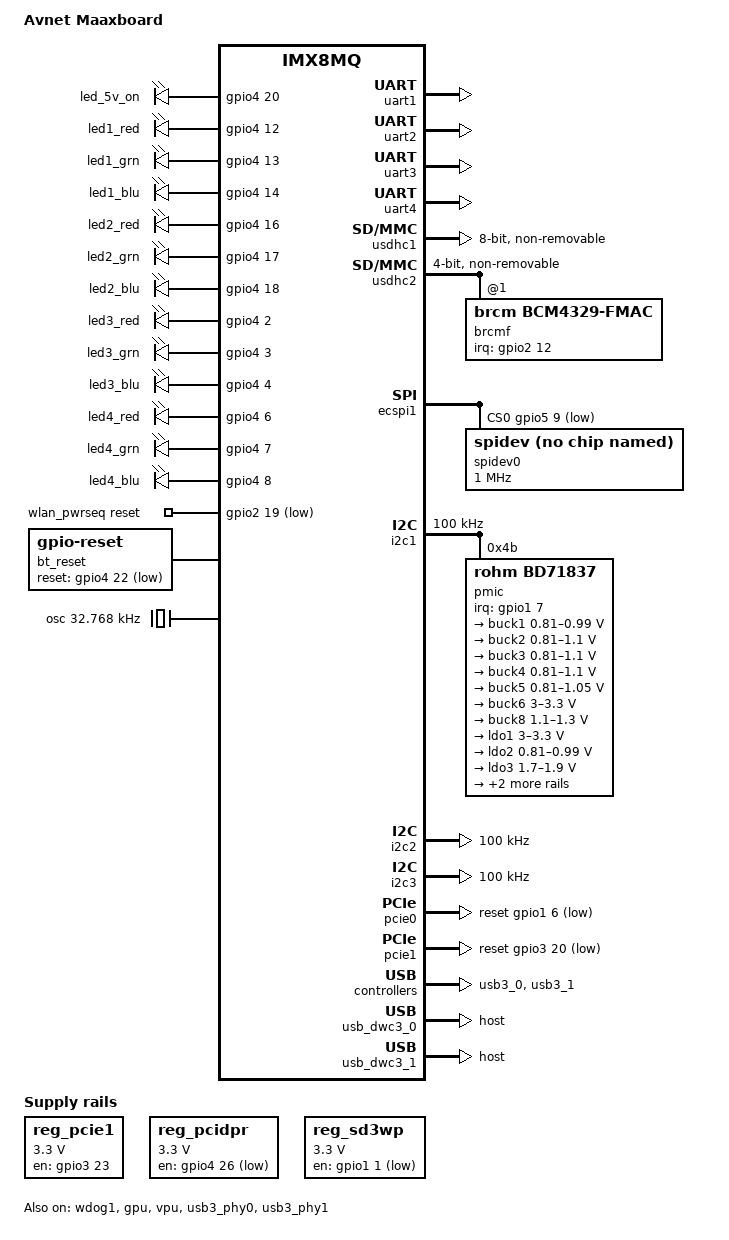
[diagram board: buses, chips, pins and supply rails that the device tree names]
/*
 * Copyright 2019 EMBEST
 *
 * This program is free software; you can redistribute it and/or
 * modify it under the terms of the GNU General Public License
 * as published by the Free Software Foundation; either version 2
 * of the License, or (at your option) any later version.
 *
 * This program is distributed in the hope that it will be useful,
 * but WITHOUT ANY WARRANTY; without even the implied warranty of
 * MERCHANTABILITY or FITNESS FOR A PARTICULAR PURPOSE.  See the
 * GNU General Public License for more details.
 */

/dts-v1/;

#include "fsl-imx8mq.dtsi"

/ {
	model = "Avnet Maaxboard";
	compatible = "avnet/embest,maaxboard", "fsl,imx8mq";

	chosen {
		bootargs = "console=ttymxc0,115200 earlycon=ec_imx6q,0x30860000,115200";
		stdout-path = &uart1;
	};

	leds {
		compatible = "gpio-leds";
		pinctrl-names = "default";
		pinctrl-0 = <&pinctrl_gpio_leds>;
		status = "okay";

		led_5v_on {
				gpios = <&gpio4 20 GPIO_ACTIVE_HIGH>;
				default-state = "on";
		};

		led1_red {
				gpios = <&gpio4 12 GPIO_ACTIVE_HIGH>;
				default-state = "on";
				linux,default-trigger = "heartbeat";
		};

		led1_grn {
				gpios = <&gpio4 13 GPIO_ACTIVE_HIGH>;
				default-state = "on";
		};

		led1_blu {
				gpios = <&gpio4 14 GPIO_ACTIVE_HIGH>;
		};

		led2_red {
				gpios = <&gpio4 16 GPIO_ACTIVE_HIGH>;
		};

		led2_grn {
				gpios = <&gpio4 17 GPIO_ACTIVE_HIGH>;
		};

		led2_blu {
				gpios = <&gpio4 18 GPIO_ACTIVE_HIGH>;
		};

		led3_red {
				gpios = <&gpio4 2 GPIO_ACTIVE_HIGH>;
		};

		led3_grn {
				gpios = <&gpio4 3 GPIO_ACTIVE_HIGH>;
		};

		led3_blu {
				gpios = <&gpio4 4 GPIO_ACTIVE_HIGH>;
		};

		led4_red {
				gpios = <&gpio4 6 GPIO_ACTIVE_HIGH>;
		};

		led4_grn {
				gpios = <&gpio4 7 GPIO_ACTIVE_HIGH>;
		};

		led4_blu {
				gpios = <&gpio4 8 GPIO_ACTIVE_HIGH>;
		};

	};

	hdmi_audio: sound-hdmi {
		compatible = "fsl,imx8mq-evk-cdnhdmi",
				"fsl,imx-audio-cdnhdmi";
		model = "imx-audio-hdmi";
		audio-cpu = <&sai4>;
		protocol = <1>;
		status = "disabled";

		hdmi-out;
		constraint-rate = <44100>,
				<88200>,
				<176400>,
				<32000>,
				<48000>,
				<96000>,
				<192000>;

	};

	regulators {
		compatible = "simple-bus";
		#address-cells = <1>;
		#size-cells = <0>;

//		reg_3V3WF: regulator@1 {
//			compatible = "regulator-fixed";
//			reg = <1>;
//			pinctrl-names = "default";
//			pinctrl-0 = <&pinctrl_reg3V3wf>;
//			regulator-name = "WF_3V3";
//			regulator-min-microvolt = <3300000>;
//			regulator-max-microvolt = <3300000>;
//			gpio = <&gpio2 20 GPIO_ACTIVE_HIGH>;  /* WB_PWR_EN */
//			regulator-always-on;
//			enable-active-high;
//		};

		reg_pcie1: regulator@2 {
			compatible = "regulator-fixed";
			reg = <2>;
			pinctrl-names = "default";
			pinctrl-0 = <&pinctrl_ltepwr>;
			regulator-name = "lte_power";
			regulator-min-microvolt = <3300000>;
			regulator-max-microvolt = <3300000>;
			gpio = <&gpio3 23 GPIO_ACTIVE_HIGH>;  /* LTE_PWR_OFF# */
			regulator-always-on;
			enable-active-high;
		};

		reg_pcidpr: regulator@3 {
			compatible = "regulator-fixed";
			reg = <3>;
			pinctrl-names = "default";
			pinctrl-0 = <&pinctrl_ltedpr>;
			regulator-name = "lte_dpr";
			regulator-min-microvolt = <3300000>;
			regulator-max-microvolt = <3300000>;
			gpio = <&gpio4 26 GPIO_ACTIVE_LOW>;  /* LTE_DPR */
			regulator-always-on;
		};

		reg_sd3wp: regulator@4 {
			compatible = "regulator-fixed";
			reg = <4>;
			pinctrl-names = "default";
			pinctrl-0 = <&pinctrl_sd3wp>;
			regulator-name = "sd3_wp";
			regulator-min-microvolt = <3300000>;
			regulator-max-microvolt = <3300000>;
			gpio = <&gpio1 1 GPIO_ACTIVE_LOW>;  /* SD3_WP */
			regulator-always-on;
		};
	};

	wlan_pwrseq: sdio-pwrseq {
		compatible = "mmc-pwrseq-simple";
		pinctrl-names = "default";
		pinctrl-0 = <&pinctrl_wlan>;
		reset-gpios = <&gpio2 19 GPIO_ACTIVE_LOW>; /* WL_REG_ON */
	};

	bt_reset: bt_reset{
		compatible = "gpio-reset";
		reset-gpios = <&gpio4 22 GPIO_ACTIVE_LOW>; /* BT_REG_ON */
		reset-delay-us = <1000>;
		reset-post-delay-ms = <40>;
		#reset-cells = <0>;
	};

	osc: oscillator {
			compatible = "fixed-clock";
			#clock-cells = <1>;
			clock-frequency  = <32768>;
			clock-output-names = "osc-pmic";
	};
};

&clk {
	assigned-clocks = <&clk IMX8MQ_AUDIO_PLL1>, <&clk IMX8MQ_AUDIO_PLL2>;
	assigned-clock-rates = <786432000>, <722534400>;
};

&iomuxc {
	pinctrl-names = "default";
	pinctrl-0 = <&pinctrl_hog>;

	imx8mq-evk {
		pinctrl_hog: hoggrp {
			fsl,pins = <
				MX8MQ_IOMUXC_GPIO1_IO10_GPIO1_IO10		0x19 /* MCU_RESET */
				MX8MQ_IOMUXC_GPIO1_IO13_GPIO1_IO13		0x19 /* HUB_RESET# */
				MX8MQ_IOMUXC_NAND_DATA05_GPIO3_IO11		0x19 /* HUB3_FAIL */
				MX8MQ_IOMUXC_NAND_DATA06_GPIO3_IO12		0x19 /* HUB5_FAIL */
				MX8MQ_IOMUXC_NAND_DATA07_GPIO3_IO13		0x19 /* HUB6_FAIL */
				MX8MQ_IOMUXC_NAND_DQS_GPIO3_IO14		0x19 /* GPIO3_IO14 */
				MX8MQ_IOMUXC_NAND_READY_B_GPIO3_IO16		0x59 /* LOW_VTLE_N */
				MX8MQ_IOMUXC_NAND_WP_B_GPIO3_IO18		0x59 /* LOW_VUSB_N */
				MX8MQ_IOMUXC_NAND_WE_B_GPIO3_IO17		0x59 /* LOW_VSYS_N */
				MX8MQ_IOMUXC_NAND_RE_B_GPIO3_IO15		0x59 /* LOW_VIN2_N */
				MX8MQ_IOMUXC_NAND_CLE_GPIO3_IO5			0x59 /* LOW_VIN1_N */
				MX8MQ_IOMUXC_NAND_DATA04_GPIO3_IO10		0x19 /* USB1_FAIL */
				MX8MQ_IOMUXC_GPIO1_IO13_GPIO1_IO13		0x19 /* HUB_RESET# */
				MX8MQ_IOMUXC_GPIO1_IO03_GPIO1_IO3		0x19 /* PCIe_I2C_EN */
				MX8MQ_IOMUXC_GPIO1_IO15_GPIO1_IO15		0x19 /* GPIO1_IO15 */
				MX8MQ_IOMUXC_SAI1_TXFS_GPIO4_IO10		0x19 /* PANEL_5V_FAIL */
				MX8MQ_IOMUXC_SAI1_TXC_GPIO4_IO11		0x19 /* GPIO4_IO11 */
				MX8MQ_IOMUXC_SAI1_RXFS_GPIO4_IO0		0x19 /* WWAN_LED# */
				MX8MQ_IOMUXC_SAI1_RXC_GPIO4_IO1 		0x19 /* WAKE_ON_WAN# */
				MX8MQ_IOMUXC_SAI2_RXFS_GPIO4_IO21		0x19 /* BT_LED_N */
				MX8MQ_IOMUXC_SAI2_RXD0_GPIO4_IO23		0x19 /* LED_WLAN_N */
				MX8MQ_IOMUXC_GPIO1_IO04_GPIO1_IO4		0x59 /* LTE_I2C_EN */
				MX8MQ_IOMUXC_SAI5_RXD0_GPIO3_IO21		0x19 /* LTE_RESET# */
				MX8MQ_IOMUXC_SAI5_RXD3_GPIO3_IO24		0x19 /* LTE_DISABLE_N */
				MX8MQ_IOMUXC_NAND_CE1_B_GPIO3_IO2		0x59 /* IMX3_PWR_EN */
				MX8MQ_IOMUXC_NAND_CE2_B_GPIO3_IO3		0x59 /* IMX5_PWR_EN */
				MX8MQ_IOMUXC_NAND_CE3_B_GPIO3_IO4		0x59 /* IMX6_PWR_EN */
				MX8MQ_IOMUXC_GPIO1_IO05_GPIO1_IO5		0x59 /* PCIe_CLK_EN */
				MX8MQ_IOMUXC_SAI2_MCLK_GPIO4_IO27		0x19 /* DPR_1V8_N */
			>;
		};

		pinctrl_gpio_leds: gpio_ledsgrp {
			fsl,pins = <
				MX8MQ_IOMUXC_SAI1_MCLK_GPIO4_IO20		0x06	/* LED 5V ON */
				MX8MQ_IOMUXC_SAI1_TXD0_GPIO4_IO12		0x06	/* LED1_RED */
				MX8MQ_IOMUXC_SAI1_TXD1_GPIO4_IO13		0x06	/* LED1_GRN */
				MX8MQ_IOMUXC_SAI1_TXD2_GPIO4_IO14		0x06	/* LED1_BLU */
				MX8MQ_IOMUXC_SAI1_TXD4_GPIO4_IO16		0x06	/* LED2_RED */
				MX8MQ_IOMUXC_SAI1_TXD5_GPIO4_IO17		0x06	/* LED2_GRN */
				MX8MQ_IOMUXC_SAI1_TXD6_GPIO4_IO18		0x06	/* LED2_BLU */
				MX8MQ_IOMUXC_SAI1_RXD0_GPIO4_IO2		0x06	/* LED3_RED */
				MX8MQ_IOMUXC_SAI1_RXD1_GPIO4_IO3		0x06	/* LED3_GRN */
				MX8MQ_IOMUXC_SAI1_RXD2_GPIO4_IO4		0x06	/* LED3_BLU */
				MX8MQ_IOMUXC_SAI1_RXD4_GPIO4_IO6		0x06	/* LED4_RED */
				MX8MQ_IOMUXC_SAI1_RXD5_GPIO4_IO7		0x06	/* LED4_GRN */
				MX8MQ_IOMUXC_SAI1_RXD6_GPIO4_IO8		0x06	/* LED4_BLU */
			>;
		};

		pinctrl_qspi: qspigrp {
			fsl,pins = <
				MX8MQ_IOMUXC_NAND_ALE_QSPI_A_SCLK		0x82
				MX8MQ_IOMUXC_NAND_CE0_B_QSPI_A_SS0_B		0x82
				MX8MQ_IOMUXC_NAND_DATA00_QSPI_A_DATA0		0x82
				MX8MQ_IOMUXC_NAND_DATA01_QSPI_A_DATA1		0x82
				MX8MQ_IOMUXC_NAND_DATA02_QSPI_A_DATA2		0x82
				MX8MQ_IOMUXC_NAND_DATA03_QSPI_A_DATA3		0x82
			>;
		};

		pinctrl_uart1: uart1grp {
			fsl,pins = <
				/* Reversed pin function to match board pinout */
				MX8MQ_IOMUXC_UART1_RXD_UART1_DCE_RX		0x49
				MX8MQ_IOMUXC_UART1_TXD_UART1_DCE_TX		0x49
			>;
		};

		pinctrl_uart4: uart4grp {
			fsl,pins = <
				MX8MQ_IOMUXC_ECSPI2_SCLK_UART4_DCE_RX		0x49
				MX8MQ_IOMUXC_ECSPI2_MOSI_UART4_DCE_TX		0x49
				MX8MQ_IOMUXC_ECSPI2_SS0_UART4_DCE_RTS_B		0x49
				MX8MQ_IOMUXC_ECSPI2_MISO_UART4_DCE_CTS_B	0x49
			>;
		};

		pinctrl_wlan: wlangrp {
			fsl,pins = <
				MX8MQ_IOMUXC_SD2_RESET_B_GPIO2_IO19		0x19 /* WL_REG_ON */
				MX8MQ_IOMUXC_SD2_CD_B_GPIO2_IO12		0x19 /* WL_HOST_WAKE irq */
				MX8MQ_IOMUXC_GPIO1_IO00_ANAMIX_REF_CLK_32K	0x05 /* 32K CLK */
			>;
		};

		pinctrl_ltepwr: ltepwrgrp {
			fsl,pins = <
				MX8MQ_IOMUXC_SAI5_RXD2_GPIO3_IO23		0x19 /* LTE_PWR_OFF# */
			>;
		};

		pinctrl_ltedpr: ltedprgrp {
			fsl,pins = <
				MX8MQ_IOMUXC_SAI2_TXD0_GPIO4_IO26		0x19 /* LTE_DPR */
			>;
		};

		pinctrl_sd3wp: sd3wpgrp {
			fsl,pins = <
				MX8MQ_IOMUXC_GPIO1_IO01_GPIO1_IO1		0x19 /* SD3_WP */
			>;
		};

		pinctrl_usdhc1: usdhc1grp {
			fsl,pins = <
				MX8MQ_IOMUXC_SD1_CLK_USDHC1_CLK			0x83
				MX8MQ_IOMUXC_SD1_CMD_USDHC1_CMD			0xc3
				MX8MQ_IOMUXC_SD1_DATA0_USDHC1_DATA0		0xc3
				MX8MQ_IOMUXC_SD1_DATA1_USDHC1_DATA1		0xc3
				MX8MQ_IOMUXC_SD1_DATA2_USDHC1_DATA2		0xc3
				MX8MQ_IOMUXC_SD1_DATA3_USDHC1_DATA3		0xc3
				MX8MQ_IOMUXC_SD1_DATA4_USDHC1_DATA4		0xc3
				MX8MQ_IOMUXC_SD1_DATA5_USDHC1_DATA5		0xc3
				MX8MQ_IOMUXC_SD1_DATA6_USDHC1_DATA6		0xc3
				MX8MQ_IOMUXC_SD1_DATA7_USDHC1_DATA7		0xc3
				MX8MQ_IOMUXC_SD1_STROBE_USDHC1_STROBE 		0x83
				MX8MQ_IOMUXC_SD1_RESET_B_USDHC1_RESET_B		0xc1
			>;
		};

		pinctrl_usdhc1_100mhz: usdhc1grp100mhz {
			fsl,pins = <
				MX8MQ_IOMUXC_SD1_CLK_USDHC1_CLK			0x8d
				MX8MQ_IOMUXC_SD1_CMD_USDHC1_CMD			0xcd
				MX8MQ_IOMUXC_SD1_DATA0_USDHC1_DATA0		0xcd
				MX8MQ_IOMUXC_SD1_DATA1_USDHC1_DATA1		0xcd
				MX8MQ_IOMUXC_SD1_DATA2_USDHC1_DATA2		0xcd
				MX8MQ_IOMUXC_SD1_DATA3_USDHC1_DATA3		0xcd
				MX8MQ_IOMUXC_SD1_DATA4_USDHC1_DATA4		0xcd
				MX8MQ_IOMUXC_SD1_DATA5_USDHC1_DATA5		0xcd
				MX8MQ_IOMUXC_SD1_DATA6_USDHC1_DATA6		0xcd
				MX8MQ_IOMUXC_SD1_DATA7_USDHC1_DATA7		0xcd
				MX8MQ_IOMUXC_SD1_STROBE_USDHC1_STROBE		0x8d
				MX8MQ_IOMUXC_SD1_RESET_B_USDHC1_RESET_B		0xc1
			>;
		};

		pinctrl_usdhc1_200mhz: usdhc1grp200mhz {
			fsl,pins = <
				MX8MQ_IOMUXC_SD1_CLK_USDHC1_CLK			0x9f
				MX8MQ_IOMUXC_SD1_CMD_USDHC1_CMD			0xdf
				MX8MQ_IOMUXC_SD1_DATA0_USDHC1_DATA0		0xdf
				MX8MQ_IOMUXC_SD1_DATA1_USDHC1_DATA1		0xdf
				MX8MQ_IOMUXC_SD1_DATA2_USDHC1_DATA2		0xdf
				MX8MQ_IOMUXC_SD1_DATA3_USDHC1_DATA3		0xdf
				MX8MQ_IOMUXC_SD1_DATA4_USDHC1_DATA4		0xdf
				MX8MQ_IOMUXC_SD1_DATA5_USDHC1_DATA5		0xdf
				MX8MQ_IOMUXC_SD1_DATA6_USDHC1_DATA6		0xdf
				MX8MQ_IOMUXC_SD1_DATA7_USDHC1_DATA7		0xdf
				MX8MQ_IOMUXC_SD1_STROBE_USDHC1_STROBE		0x9f
				MX8MQ_IOMUXC_SD1_RESET_B_USDHC1_RESET_B		0xc1
			>;
		};

		pinctrl_usdhc2: usdhc2grp {
			fsl,pins = <
				MX8MQ_IOMUXC_SD2_CLK_USDHC2_CLK                 0x83
				MX8MQ_IOMUXC_SD2_CMD_USDHC2_CMD                 0xc3
				MX8MQ_IOMUXC_SD2_DATA0_USDHC2_DATA0             0xc3
				MX8MQ_IOMUXC_SD2_DATA1_USDHC2_DATA1             0xc3
				MX8MQ_IOMUXC_SD2_DATA2_USDHC2_DATA2             0xc3
				MX8MQ_IOMUXC_SD2_DATA3_USDHC2_DATA3             0xc3
			>;
		};

		pinctrl_i2c1: i2c1grp {
			fsl,pins = <
				MX8MQ_IOMUXC_I2C1_SCL_I2C1_SCL			0x4000007f
				MX8MQ_IOMUXC_I2C1_SDA_I2C1_SDA			0x4000007f
			>;
		};

		pinctrl_i2c2: i2c2grp {
			fsl,pins = <
				MX8MQ_IOMUXC_I2C2_SCL_I2C2_SCL			0x4000007f
				MX8MQ_IOMUXC_I2C2_SDA_I2C2_SDA			0x4000007f
			>;
		};

		pinctrl_i2c3: i2c3grp {
			fsl,pins = <
				MX8MQ_IOMUXC_I2C3_SCL_I2C3_SCL			0x4000007f
				MX8MQ_IOMUXC_I2C3_SDA_I2C3_SDA			0x4000007f
			>;
		};

		pinctrl_pcie0: pcie0grp {
			fsl,pins = <
				MX8MQ_IOMUXC_I2C4_SCL_PCIE1_CLKREQ_B		0x76 /* open drain, pull up */
				MX8MQ_IOMUXC_GPIO1_IO06_GPIO1_IO6		0x16
				MX8MQ_IOMUXC_SD2_WP_GPIO2_IO20			0x16 /* WB_PWR_EN */
			>;
		};

		pinctrl_pcie1: pcie1grp {
			fsl,pins = <
				MX8MQ_IOMUXC_I2C4_SDA_PCIE2_CLKREQ_B		0x76 /* open drain, pull up */
				MX8MQ_IOMUXC_SAI5_RXC_GPIO3_IO20		0x16 /* reset */
			>;
		};

		pinctrl_pmic: pmicirq {
			fsl,pins = <
				MX8MQ_IOMUXC_GPIO1_IO07_GPIO1_IO7		0x19
			>;
		};

		pinctrl_wdog: wdoggrp {
			fsl,pins = <
				MX8MQ_IOMUXC_GPIO1_IO02_WDOG1_WDOG_B		0xc6
			>;
		};

		pinctrl_fec1: fec1grp {
			fsl,pins = <
				MX8MQ_IOMUXC_ENET_MDC_ENET1_MDC			0x3
				MX8MQ_IOMUXC_ENET_MDIO_ENET1_MDIO		0x23
				MX8MQ_IOMUXC_ENET_TD3_ENET1_RGMII_TD3		0x1f
				MX8MQ_IOMUXC_ENET_TD2_ENET1_RGMII_TD2		0x1f
				MX8MQ_IOMUXC_ENET_TD1_ENET1_RGMII_TD1		0x1f
				MX8MQ_IOMUXC_ENET_TD0_ENET1_RGMII_TD0		0x1f
				MX8MQ_IOMUXC_ENET_RD3_ENET1_RGMII_RD3		0x91
				MX8MQ_IOMUXC_ENET_RD2_ENET1_RGMII_RD2		0x91
				MX8MQ_IOMUXC_ENET_RD1_ENET1_RGMII_RD1		0x91
				MX8MQ_IOMUXC_ENET_RD0_ENET1_RGMII_RD0		0x91
				MX8MQ_IOMUXC_ENET_TXC_ENET1_RGMII_TXC		0x1f
				MX8MQ_IOMUXC_ENET_RXC_ENET1_RGMII_RXC		0x91
				MX8MQ_IOMUXC_ENET_RX_CTL_ENET1_RGMII_RX_CTL	0x91
				MX8MQ_IOMUXC_ENET_TX_CTL_ENET1_RGMII_TX_CTL	0x1f
				MX8MQ_IOMUXC_GPIO1_IO09_GPIO1_IO9		0x19
			>;
		};

		pinctrl_uart2: uart2grp {
			fsl,pins = <
				MX8MQ_IOMUXC_UART2_RXD_UART2_DCE_RX		0x49
				MX8MQ_IOMUXC_UART2_TXD_UART2_DCE_TX		0x49
        		        MX8MQ_IOMUXC_UART4_RXD_UART2_DCE_CTS_B		0x49
			>;
		};

		pinctrl_uart3: uart3grp {
			fsl,pins = <
				MX8MQ_IOMUXC_UART3_TXD_UART3_DCE_TX		0x49
				MX8MQ_IOMUXC_UART3_RXD_UART3_DCE_RX		0x49
			>;
		};

		pinctrl_ecspi1: ecspi1grp {
			fsl,pins = <
				MX8MQ_IOMUXC_ECSPI1_SCLK_ECSPI1_SCLK		0x1816
				MX8MQ_IOMUXC_ECSPI1_MOSI_ECSPI1_MOSI		0x16
				MX8MQ_IOMUXC_ECSPI1_MISO_ECSPI1_MISO		0x16
			//	MX8MQ_IOMUXC_ECSPI1_SS0_ECSPI1_SS0		0x16 /* If using native CS */
				MX8MQ_IOMUXC_ECSPI1_SS0_GPIO5_IO9		0x16 /* If using GPIO CS */
			>;
		};

	};
};

/* console */
&uart1 {
	pinctrl-names = "default";
	pinctrl-0 = <&pinctrl_uart1>;
	assigned-clocks = <&clk IMX8MQ_CLK_UART1>;
	assigned-clock-parents = <&clk IMX8MQ_CLK_25M>;
	status = "okay";
};
 
/* RS485 */
&uart2 {
	pinctrl-names = "default";
	pinctrl-0 = <&pinctrl_uart2>;
	assigned-clocks = <&clk IMX8MQ_CLK_UART2>;
	assigned-clock-parents = <&clk IMX8MQ_CLK_25M>;
	fsl,uart-has-rtscts;
	linux,rs485-enabled-at-boot-time;
	status = "okay";
};

/* RS232 */
&uart3 {
	pinctrl-names = "default";
	pinctrl-0 = <&pinctrl_uart3>;
	assigned-clocks = <&clk IMX8MQ_CLK_UART3>;
	assigned-clock-parents = <&clk IMX8MQ_CLK_25M>;
	status = "okay";
};

/* BT */
&uart4 {
	pinctrl-names = "default";
	pinctrl-0 = <&pinctrl_uart4>;
	assigned-clocks = <&clk IMX8MQ_CLK_UART4>;
	assigned-clock-parents = <&clk IMX8MQ_SYS1_PLL_80M>;
	fsl,uart-has-rtscts;
	resets = <&bt_reset>;
	status = "okay";
};

/* eMMC */
&usdhc1 {
	pinctrl-names = "default", "state_100mhz", "state_200mhz";
	pinctrl-0 = <&pinctrl_usdhc1>;
	pinctrl-1 = <&pinctrl_usdhc1_100mhz>;
	pinctrl-2 = <&pinctrl_usdhc1_200mhz>;
	bus-width = <8>;
	non-removable;
	status = "okay";
};

/* Onboard SDIO WiFi */
&usdhc2 {
	pinctrl-names = "default";
	pinctrl-0 = <&pinctrl_usdhc2>;
	bus-width = <4>;
//	vmmc-supply = <&reg_3V3WF>;
	mmc-pwrseq = <&wlan_pwrseq>;
	no-1-8-v;
	non-removable;
	pm-ignore-notify;
	keep-power-in-suspend;
	status = "okay";

	#address-cells = <1>;
	#size-cells = <0>;
	brcmf: bcrmf@1 {
			reg = <1>;
			compatible = "brcm,bcm4329-fmac";
			interrupt-parent = <&gpio2>;
			interrupts = <12 IRQ_TYPE_LEVEL_LOW>;
			interrupt-names = "host-wake";
        };
};

&wdog1 {
	pinctrl-names = "default";
	pinctrl-0 = <&pinctrl_wdog>;
	fsl,ext-reset-output;
	status = "okay";
};

&A53_0 {
	operating-points = <
		/* kHz    uV */
		1500000 1000000
		1300000 1000000
		1000000 900000
		800000  900000
	>;
};

&gpu_pd {
	power-supply = <&buck3>;
};

&vpu_pd {
	power-supply = <&buck4>;
};

&gpu {
	status = "okay";
	gpu-noc-priority = <0x80000600>;
};

&vpu {
	/delete-property/ regulator-supply;
	status = "okay";
};

&ecspi1 {
	fsl,spi-num-chipselects = <1>;
	cs-gpios = <&gpio5 9 GPIO_ACTIVE_LOW>;
	pinctrl-names = "default";
	pinctrl-0 = <&pinctrl_ecspi1>;
	status = "okay";
	spidev0: spidev@0x00 {
		compatible = "spidev";
		reg = <0>;
		spi-max-frequency = <1000000>;
	};
};

&i2c1 {
	clock-frequency = <100000>;
	pinctrl-names = "default";
	pinctrl-0 = <&pinctrl_i2c1>;
	status = "okay";

	pmic: pmic@4b {
		compatible = "rohm,bd71837";
		reg = <0x4b>;
		pinctrl-names = "default";
		pinctrl-0 = <&pinctrl_pmic>;
		interrupt-parent = <&gpio1>;
		interrupts = <7 IRQ_TYPE_LEVEL_LOW>;
		interrupt-names = "irq-pmic";
		#clock-cells = <0>;
		clocks = <&osc 0>;
		clock-output-names = "bd71837-32k-out";
		rohm,pmic-buck1-dvs-voltage = <900000>, <850000>, <800000>;
		rohm,pmic-buck2-dvs-voltage = <1000000>, <900000>;
		rohm,pmic-buck3-dvs-voltage = <1000000>;
		rohm,pmic-buck4-dvs-voltage = <1000000>;
		regulators {
			buck1: BUCK1 {
				regulator-name = "buck1";
				regulator-min-microvolt = <810000>;
				regulator-max-microvolt = <990000>;
				regulator-boot-on;
				regulator-always-on;
				regulator-ramp-delay = <1250>;
			};
			buck2: BUCK2 {
				regulator-name = "buck2";
				regulator-min-microvolt = <810000>;
				regulator-max-microvolt = <1100000>;
				regulator-boot-on;
				regulator-always-on;
				regulator-ramp-delay = <1250>;
			};
			buck3: BUCK3 {
				regulator-name = "buck3";
				regulator-min-microvolt = <810000>;
				regulator-max-microvolt = <1100000>;
				regulator-boot-on;
				regulator-enable-ramp-delay= <180>;
			};
			buck4: BUCK4 {
				regulator-name = "buck4";
				regulator-min-microvolt = <810000>;
				regulator-max-microvolt = <1100000>;
				regulator-boot-on;
				regulator-enable-ramp-delay= <180>;
			};
			buck5: BUCK5 {
				regulator-name = "buck5";
				regulator-min-microvolt = <810000>;
				regulator-max-microvolt = <1050000>;
				regulator-boot-on;
				regulator-always-on;
			};
			buck6: BUCK6 {
				regulator-name = "buck6";
				regulator-min-microvolt = <3000000>;
				regulator-max-microvolt = <3300000>;
				regulator-boot-on;
				regulator-always-on;
			};
			buck8: BUCK8 {
				regulator-name = "buck8";
				regulator-min-microvolt = <1100000>;
				regulator-max-microvolt = <1300000>;
				regulator-boot-on;
				regulator-always-on;
			};

			ldo1: LDO1 {
				regulator-name = "ldo1";
				regulator-min-microvolt = <3000000>;
				regulator-max-microvolt = <3300000>;
				regulator-boot-on;
				regulator-always-on;
			};
			ldo2: LDO2 {
				regulator-name = "ldo2";
				regulator-min-microvolt = <810000>;
				regulator-max-microvolt = <990000>;
				regulator-boot-on;
				regulator-always-on;
			};
			ldo3: LDO3 {
				regulator-name = "ldo3";
				regulator-min-microvolt = <1700000>;
				regulator-max-microvolt = <1900000>;
				regulator-boot-on;
				regulator-always-on;
			};
			ldo4: LDO4 {
				regulator-name = "ldo4";
				regulator-min-microvolt = <810000>;
				regulator-max-microvolt = <990000>;
				regulator-boot-on;
				regulator-always-on;
			};
			ldo7_reg: LDO7 {
				regulator-name = "ldo7";
				regulator-min-microvolt = <3000000>;
				regulator-max-microvolt = <3300000>;
				regulator-boot-on;
				regulator-always-on;
			};
		};
	};
};

/* Expansion */
&i2c2 {
	clock-frequency = <100000>;
	pinctrl-names = "default";
	pinctrl-0 = <&pinctrl_i2c2>;
	status = "okay";
};

/* M.2 */
&i2c3 {
	clock-frequency = <100000>;
	pinctrl-names = "default";
	pinctrl-0 = <&pinctrl_i2c3>;
	status = "okay";
};

&fec1 {
	pinctrl-names = "default";
	pinctrl-0 = <&pinctrl_fec1>;
	phy-mode = "rgmii-id";
	phy-handle = <&ethphy0>;
	fsl,magic-packet;
	phy-reset-gpios = <&gpio1 9 GPIO_ACTIVE_LOW>;
	status = "disabled";

	mdio {
		#address-cells = <1>;
		#size-cells = <0>;

		ethphy0: ethernet-phy@4 {
			compatible = "ethernet-phy-ieee802.3-c22";
			reg = <4>;
			at803x,led-act-blind-workaround;
			at803x,eee-disabled;
		};
	};
};

&pcie0{
	pinctrl-names = "default";
	pinctrl-0 = <&pinctrl_pcie0>;
//	wake-up-gpio = <&gpio3 22 GPIO_ACTIVE_LOW>;
	disable-gpio = <&gpio2 20 GPIO_ACTIVE_LOW>;
	reset-gpio = <&gpio1 6 GPIO_ACTIVE_LOW>;
	ext_osc = <1>;
	vph-supply = <&ldo7_reg>;
	status = "okay";
};

&pcie1{
	pinctrl-names = "default";
	pinctrl-0 = <&pinctrl_pcie1>;
	reset-gpio = <&gpio3 20 GPIO_ACTIVE_LOW>;
	ext_osc = <1>;
	vph-supply = <&ldo7_reg>;
	status = "okay";
};

&qspi {
	pinctrl-names = "default";
	pinctrl-0 = <&pinctrl_qspi>;
	status = "disabled";

//	flash0: n25q256a@0 {
//		reg = <0>;
//		#address-cells = <1>;
//		#size-cells = <1>;
//		compatible = "micron,n25q256a";
//		spi-max-frequency = <29000000>;
//		spi-nor,ddr-quad-read-dummy = <6>;
//	};
};

&usb3_phy0 {
	status = "okay";
};

&usb3_0 {
	status = "okay";
};

&usb_dwc3_0 {
	/delete-property/ power-domains;
	status = "okay";
	dr_mode = "host";
};

&usb3_phy1 {
	status = "okay";
};

&usb3_1 {
	status = "okay";
};

&usb_dwc3_1 {
	status = "okay";
	dr_mode = "host";
};

&sai4 {
	assigned-clocks = <&clk IMX8MQ_CLK_SAI4>;
	assigned-clock-parents = <&clk IMX8MQ_AUDIO_PLL1_OUT>;
	assigned-clock-rates = <24576000>;
	clocks = <&clk IMX8MQ_CLK_SAI4_IPG>, <&clk IMX8MQ_CLK_DUMMY>,
		<&clk IMX8MQ_CLK_SAI4_ROOT>, <&clk IMX8MQ_CLK_DUMMY>,
		<&clk IMX8MQ_CLK_DUMMY>, <&clk IMX8MQ_AUDIO_PLL1_OUT>,
		<&clk IMX8MQ_AUDIO_PLL2_OUT>;
	clock-names = "bus", "mclk0", "mclk1", "mclk2", "mclk3", "pll8k", "pll11k";
	status = "disabled";
};
